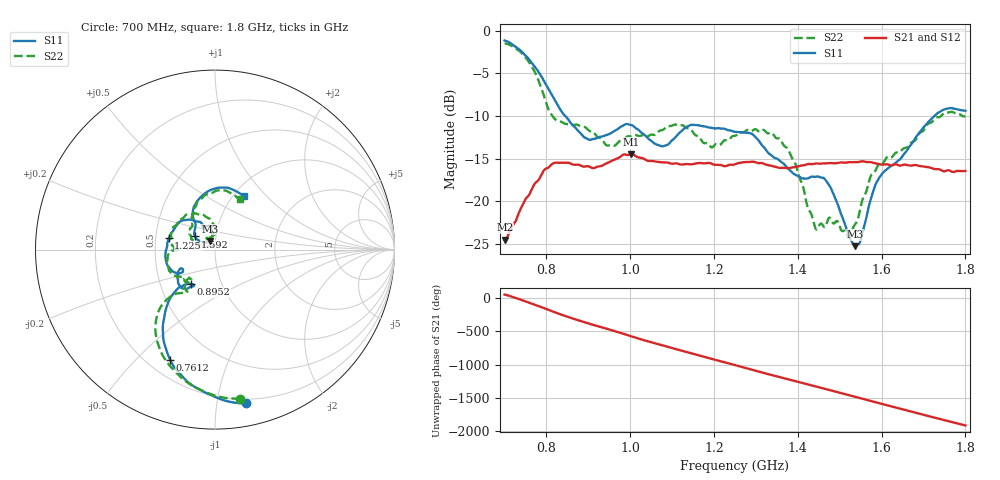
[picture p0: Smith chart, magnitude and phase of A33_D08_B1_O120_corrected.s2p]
! Created with skrf 1.9.0 (http://scikit-rf.org).
# Hz S RI R 50.0
!freq ReS11 ImS11 ReS21 ImS21 ReS12 ImS12 ReS22 ImS22
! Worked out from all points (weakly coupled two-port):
!   1601 points, 700 MHz to 1.8 GHz, reference 50 ohm
!   highest |S21| = -14.47 dB at 1.002 GHz (marker M1); lowest = -24.5 dB at 700.7 MHz (marker M2)
!   lowest |S11| = -25.3 dB at 1.537 GHz (marker M3), VSWR 1.12, Z = 47.2 + j4.55 ohm
!   |S11| at or under -10 dB: 844.4 MHz to 1.726 GHz (881.7 MHz wide, 68.6 % of centre)
!   |S22| runs from -24.2 to -1.5 dB; largest |S21 - S12| = 0.0036
!   S11 on the Smith chart (normalised r, x): 700 MHz: 0.17, -1.21; 761.2 MHz: 0.29, -0.63; 895.2 MHz: 0.71, -0.29; 1.225 GHz: 0.59, +0.08; 1.592 GHz: 0.79, +0.12; 1.8 GHz: 1.12, +0.75
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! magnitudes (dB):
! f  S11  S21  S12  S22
! 700 MHz  -1.2  -24.5  -24.3  -1.5
! 700.7 MHz  -1.2  -24.5  -24.2  -1.5
! 761.2 MHz  -3.6  -19.0  -18.9  -3.9
! 816.9 MHz  -7.9  -15.5  -15.6  -10.2
! 883.6 MHz  -12.2  -15.9  -15.8  -11.3
! 895.2 MHz  -12.6  -15.9  -16.0  -11.4
! 946.1 MHz  -12.2  -15.5  -15.5  -13.5
! 1.002 GHz  -11.1  -14.5  -14.6  -12.4
! 1.067 GHz  -13.4  -15.4  -15.3  -11.8
! 1.144 GHz  -11.1  -15.7  -15.7  -11.6
! 1.225 GHz  -11.5  -15.9  -15.9  -12.8
! 1.25 GHz  -11.9  -15.7  -15.6  -12.3
! 1.358 GHz  -15.3  -16.1  -16.0  -12.8
! 1.394 GHz  -16.9  -16.0  -16.0  -15.6
! 1.434 GHz  -17.1  -15.6  -15.6  -21.7
! 1.473 GHz  -18.0  -15.5  -15.5  -22.0
! 1.522 GHz  -24.1  -15.4  -15.4  -24.2
! 1.537 GHz  -25.3  -15.4  -15.4  -22.7
! 1.592 GHz  -17.5  -15.6  -15.6  -15.7
! 1.617 GHz  -16.1  -15.7  -15.7  -14.8
! 1.734 GHz  -9.7  -16.2  -16.3  -10.2
! 1.8 GHz  -9.4  -16.4  -16.4  -10.0
